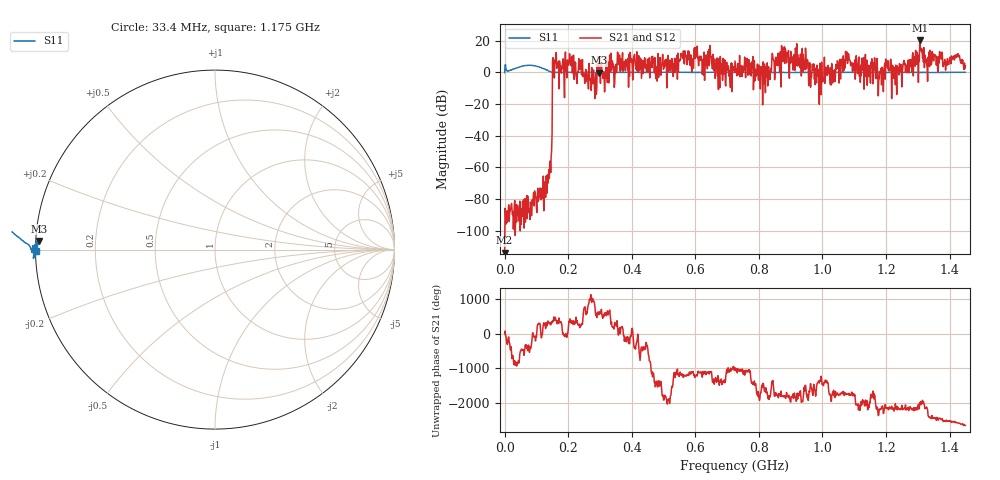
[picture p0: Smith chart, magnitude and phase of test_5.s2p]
! Created with skrf 1.11.0 (http://scikit-rf.org).
# Hz S RI R 50.0
!freq ReS11 ImS11 ReS21 ImS21 ReS12 ImS12 ReS22 ImS22
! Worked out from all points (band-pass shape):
!   1001 points, 50 kHz to 1.45 GHz, reference 50 ohm
!   highest |S21| = 20.20 dB at 1.306 GHz (marker M1); lowest = -114.0 dB at 50 kHz (marker M2)
!   |S21| within 3 dB of the highest: 919.1856 MHz to 919.4164 MHz (230.8 kHz wide, 0.0251 % of centre); 1.306127 GHz to 1.307207 GHz (1.08 MHz wide, 0.0826 % of centre)
!   lowest |S11| = -0.2 dB at 297.3 MHz (marker M3), VSWR 98.06, Z = 0.51 + j1.24 ohm
!   |S11| at or under -10 dB: nowhere
!   |S22| runs from - to - dB; largest |S21 - S12| = 0
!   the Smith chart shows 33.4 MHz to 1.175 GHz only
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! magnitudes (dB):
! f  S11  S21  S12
! 50 kHz  -0.1  -114.0  -114.0
! 121.8 MHz  2.5  -65.5  -65.5
! 140.7 MHz  0.7  -66.9  -66.9
! 158.1 MHz  0.0  6.2  6.2
! 242.2 MHz  0.1  -1.5  -1.5
! 282.8 MHz  0.0  -9.0  -9.0
! 297.3 MHz  -0.2  -1.9  -1.9
! 484.3 MHz  0.1  -3.2  -3.2
! 603.2 MHz  0.0  12.7  12.7
! 649.6 MHz  0.1  10.2  10.2
! 669.9 MHz  0.1  -2.1  -2.1
! 725 MHz  0.0  7.2  7.2
! 816.4 MHz  0.0  4.0  4.0
! 878.7 MHz  0.0  9.2  9.2
! 967.2 MHz  0.0  1.2  1.2
! 1.032 GHz  0.0  -6.6  -6.6
! 1.08 GHz  0.1  6.9  6.9
! 1.175 GHz  0.0  -2.1  -2.1
! 1.209 GHz  0.0  2.2  2.2
! 1.231 GHz  0.0  4.7  4.7
! 1.306 GHz  -0.1  20.2  20.2
! 1.45 GHz  0.1  4.2  4.2
